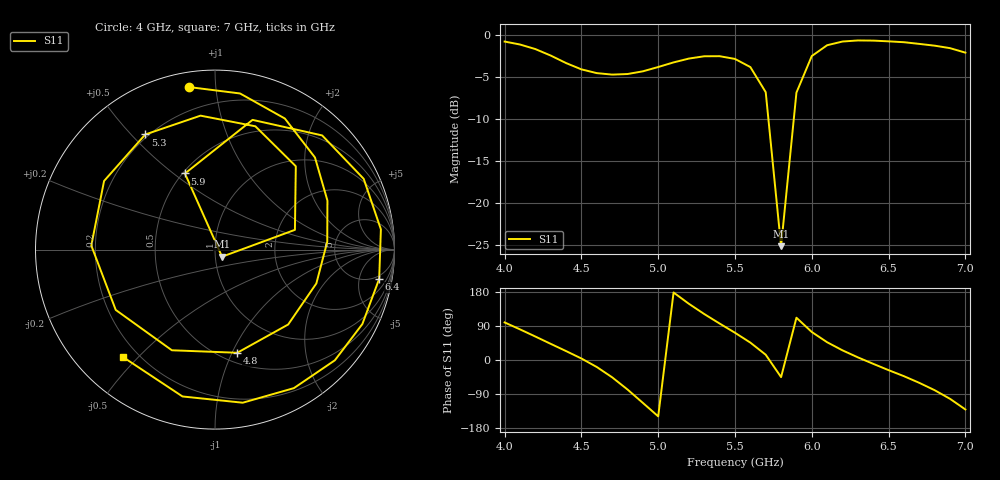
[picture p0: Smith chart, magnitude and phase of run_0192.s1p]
! Touchstone file exported from HFSS 2024.2.0
!  File:  C:/Users/wsak9/Desktop/Sim Fast/Widenad Patch/WP_AI_V1_sweep.aedt
!  Generated:  10:57:47 PM Oct 13, 2026
!  Design:  A1_model
!  Project:  WP_AI_V1_sweep
!  Setup:  Setup1
!  Solution:  Sweep
! Variables:
!  Air_gap = 2.86mm
!  Curve_Amp1 = 2.75
!  Curve_len1 = 1
!  Curve_pos = 10.685mm
!  Extra = 2.15mm
!  H_sub = 0.79mm
!  L_Patch = 17.37mm
!  L_Patch1 = 18.61mm
!  Sx = 1.41mm
!  Sy = 1.32mm
!  WS = 1.08mm
!  W_Patch = 15.61mm
!  W_Patch1 = 16.46mm
!Data is not renormalized
# GHz S MA
! Terminal data exported
! Port[1] = 1
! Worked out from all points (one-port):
!   31 points, 4 GHz to 7 GHz, reference per port
!   lowest |S11| = -25.1 dB at 5.8 GHz (marker M1), VSWR 1.12
!   |S11| at or under -10 dB: 5.718 GHz to 5.883 GHz (165 MHz wide, 2.84 % of centre)
!   S11 on the Smith chart (normalised r, x): 4 GHz: 0.07, +0.85; 4.8 GHz: 0.60, -1.05; 5.3 GHz: 0.19, +0.55; 5.9 GHz: 0.51, +0.55; 6.4 GHz: 4, -10; 7 GHz: 0.14, -0.45
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4  0.9174 99.1
4.1  0.881 80.9
4.2  0.8276 62.0
4.4  0.6834 23.6
4.6  0.5953 -18.5
4.7  0.5834 -45.7
4.8  0.588 -77.8
4.9  0.6102 -113.2
5  0.6472 -148.7
5.1  0.6895 178.1
5.2  0.7268 148.3
5.3  0.7499 121.2
5.4  0.7506 96.2
5.5  0.7229 71.9
5.6  0.6468 45.9
5.7  0.4587 13.9
5.8  0.05569 -45.2
5.9  0.4559 111.6
6  0.7525 73.9
6.1  0.8724 46.8
6.2  0.9176 25.4
6.3  0.9311 7.0
6.4  0.9291 -10.1
6.6  0.9091 -42.7
6.7  0.8882 -60.3
6.8  0.867 -79.7
6.9  0.838 -102.5
7  0.7879 -130.5
